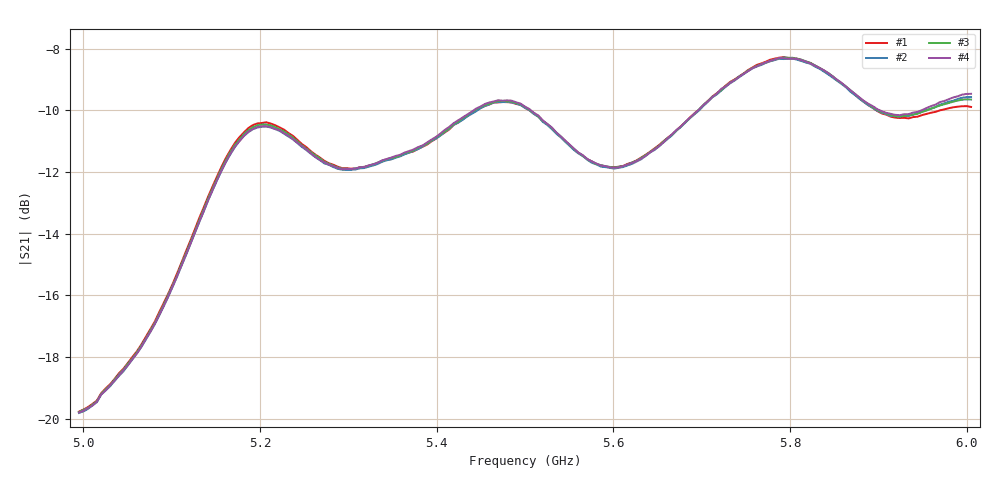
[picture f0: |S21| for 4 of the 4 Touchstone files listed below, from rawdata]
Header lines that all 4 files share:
!File created by NanoVNA
# Hz S RI R 50
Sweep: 4.995 GHz to 6.005 GHz
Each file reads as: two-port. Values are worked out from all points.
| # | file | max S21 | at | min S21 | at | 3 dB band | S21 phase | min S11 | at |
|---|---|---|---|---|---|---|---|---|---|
| 1 | V20.s2p | -8.28 dB | 5.793 GHz | -19.8 dB | 4.995 GHz | 5.646 GHz-6.005 GHz | 55 deg at 5.5 GHz | -9.1 dB | 5.722 GHz |
| 2 | V21.5.s2p | -8.33 dB | 5.803 GHz | -19.8 dB | 4.995 GHz | 5.646 GHz-6.005 GHz | 56 deg at 5.5 GHz | -9.2 dB | 5.717 GHz |
| 3 | V21.s2p | -8.29 dB | 5.793 GHz | -19.8 dB | 4.995 GHz | 5.646 GHz-6.005 GHz | 56 deg at 5.5 GHz | -9.2 dB | 5.722 GHz |
| 4 | V22.s2p | -8.30 dB | 5.788 GHz | -19.8 dB | 4.995 GHz | 5.646 GHz-6.005 GHz | 56 deg at 5.5 GHz | -9.2 dB | 5.722 GHz |
